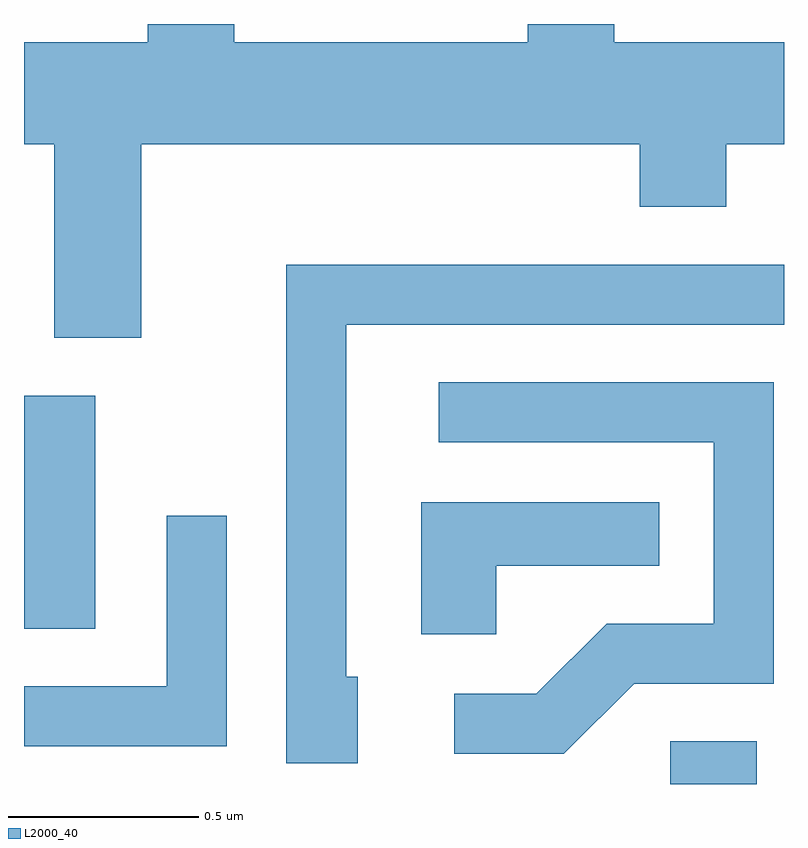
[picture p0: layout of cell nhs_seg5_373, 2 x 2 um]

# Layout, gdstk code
import gdstk
lib = gdstk.Library(unit=1e-6, precision=1e-09)
def R(c, l, rs):  # rectangles x0, y0, x1, y1
    for r in rs: c.add(gdstk.rectangle(r[:2], r[2:], *l))
def P(c, l, *ps):  # polygons
    for p in ps: c.add(gdstk.Polygon(p, *l))
L2000_40 = (2000, 40)

nhs_seg5_373 = lib.new_cell('nhs_seg5_373')
R(nhs_seg5_373, L2000_40, [(189.311,1495.072,189.539,1495.184), (187.611,1495.481,187.799,1496.094)])
P(nhs_seg5_373, L2000_40, [(187.919,1496.756),(189.231,1496.756),(189.231,1496.591),(189.459,1496.591),(189.459,1496.756),(189.611,1496.756),(189.611,1497.024),(189.164,1497.024),(189.164,1497.072),(188.936,1497.072),(188.936,1497.024),(188.164,1497.024),(188.164,1497.072),(187.936,1497.072),(187.936,1497.024),(187.611,1497.024),(187.611,1496.756),(187.691,1496.756),(187.691,1496.246),(187.919,1496.246)],
  [(188.489,1495.354),(188.459,1495.354),(188.459,1496.281),(189.611,1496.281),(189.611,1496.439),(188.301,1496.439),(188.301,1495.126),(188.489,1495.126)],
  [(189.217,1495.336),(189.584,1495.336),(189.584,1496.129),(188.703,1496.129),(188.703,1495.971),(189.426,1495.971),(189.426,1495.494),(189.144,1495.494),(188.959,1495.309),(188.743,1495.309),(188.743,1495.151),(189.032,1495.151)],
  [(188.854,1495.646),(189.283,1495.646),(189.283,1495.814),(188.656,1495.814),(188.656,1495.466),(188.854,1495.466)],
  [(188.144,1495.778),(187.986,1495.778),(187.986,1495.329),(187.611,1495.329),(187.611,1495.171),(188.144,1495.171)])

lib.write_gds('nhs_seg5_373.gds')
